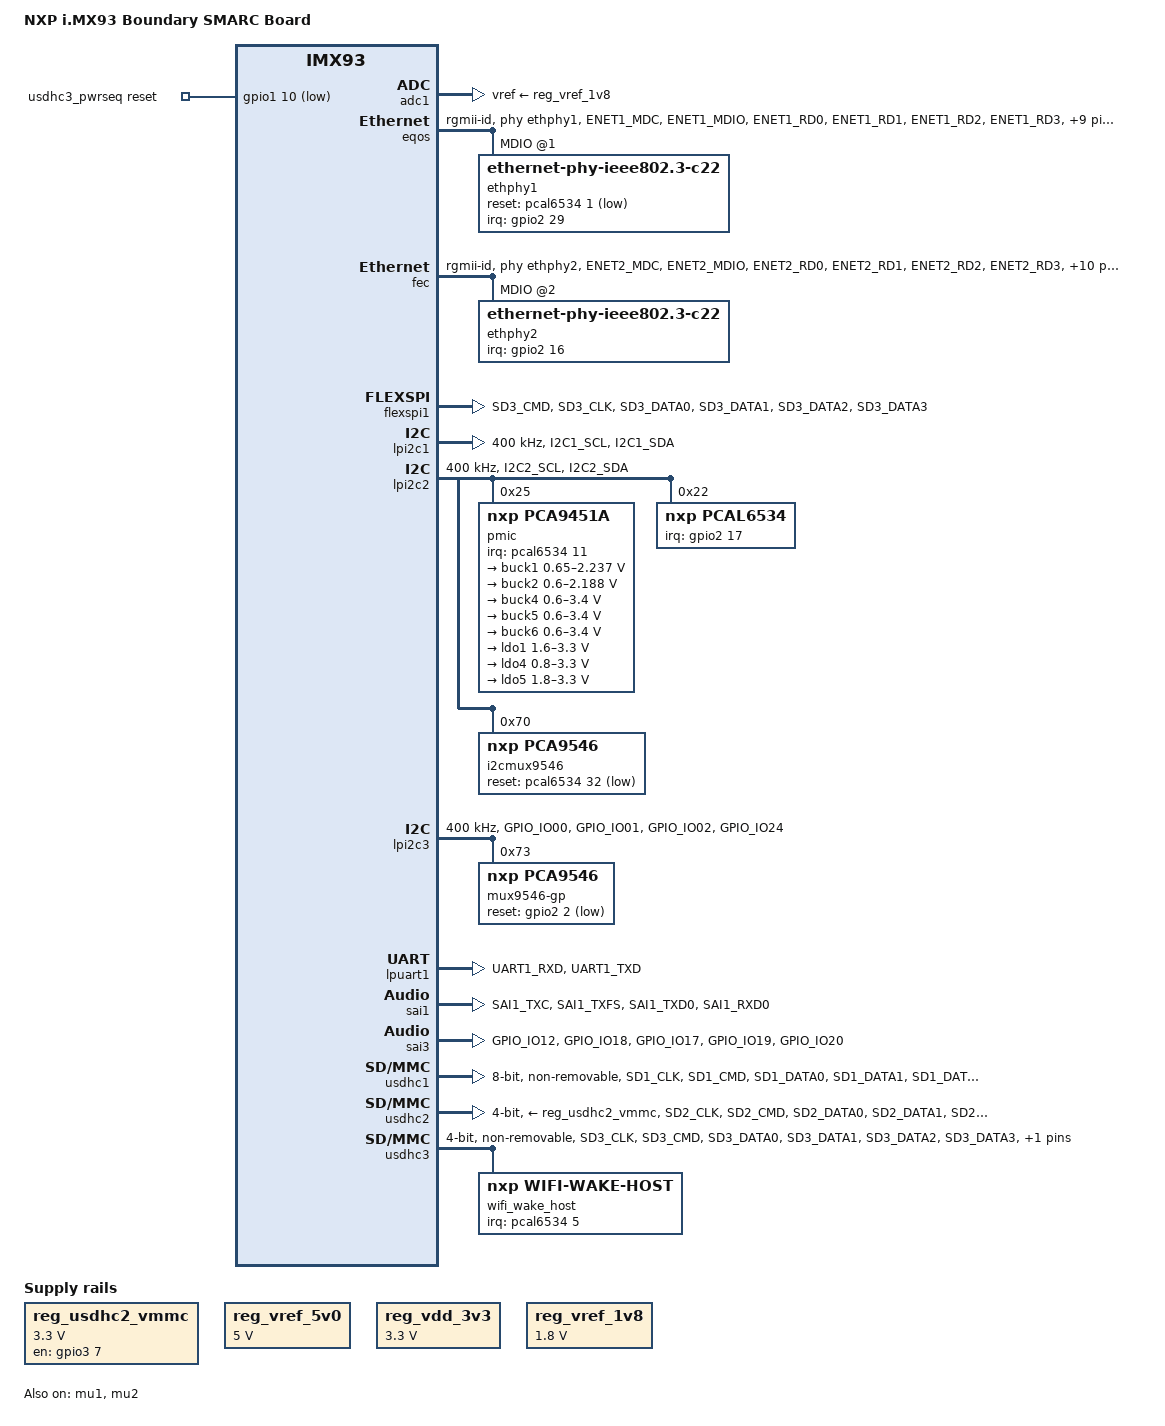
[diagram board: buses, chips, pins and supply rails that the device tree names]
// SPDX-License-Identifier: (GPL-2.0+ OR MIT)
/*
 * Copyright 2022 NXP
 */

/dts-v1/;

#include "imx93.dtsi"

/ {
	model = "NXP i.MX93 Boundary SMARC Board";
	compatible = "fsl,imx93-9x9-qsb", "fsl,imx93";

	chosen {
		stdout-path = &lpuart1;
	};

	reserved-memory {
		#address-cells = <2>;
		#size-cells = <2>;
		ranges;

		linux,cma {
			compatible = "shared-dma-pool";
			reusable;
			size = <0 0x10000000>;
			linux,cma-default;
		};

		vdev0vring0: vdev0vring0@a4000000 {
			reg = <0 0xa4000000 0 0x8000>;
			no-map;
		};

		vdev0vring1: vdev0vring1@a4008000 {
			reg = <0 0xa4008000 0 0x8000>;
			no-map;
		};

		vdev1vring0: vdev1vring0@a4000000 {
			reg = <0 0xa4010000 0 0x8000>;
			no-map;
		};

		vdev1vring1: vdev1vring1@a4018000 {
			reg = <0 0xa4018000 0 0x8000>;
			no-map;
		};

		rsc_table: rsc-table@2021f000 {
			reg = <0 0x2021f000 0 0x1000>;
			no-map;
		};

		vdevbuffer: vdevbuffer@a4020000 {
			compatible = "shared-dma-pool";
			reg = <0 0xa4020000 0 0x100000>;
			no-map;
		};
	};

	cm33: imx93-cm33 {
		compatible = "fsl,imx93-cm33";
		mbox-names = "tx", "rx", "rxdb";
		mboxes = <&mu1 0 1
			  &mu1 1 1
			  &mu1 3 1>;
		memory-region = <&vdevbuffer>, <&vdev0vring0>, <&vdev0vring1>,
				<&vdev1vring0>, <&vdev1vring1>, <&rsc_table>;
		fsl,startup-delay-ms = <500>;
	};

	reg_usdhc2_vmmc: regulator-usdhc2 {
		compatible = "regulator-fixed";
		pinctrl-names = "default";
		pinctrl-0 = <&pinctrl_reg_usdhc2_vmmc>;
		regulator-name = "VSD_3V3";
		regulator-min-microvolt = <3300000>;
		regulator-max-microvolt = <3300000>;
		gpio = <&gpio3 7 GPIO_ACTIVE_HIGH>;
		off-on-delay-us = <12000>;
		enable-active-high;
	};

	reg_vref_5v0: regulator-5v0 {
		compatible = "regulator-fixed";
                regulator-name = "VDD_5V0";
                regulator-min-microvolt = <5000000>;
                regulator-max-microvolt = <5000000>;
        };

	reg_vdd_3v3: regulator-vdd {
		compatible = "regulator-fixed";
		regulator-name = "VDD_3V3";
		regulator-min-microvolt = <3300000>;
		regulator-max-microvolt = <3300000>;
	};

	reg_vref_1v8: regulator-adc-vref {
		compatible = "regulator-fixed";
		regulator-name = "vref_1v8";
		regulator-min-microvolt = <1800000>;
		regulator-max-microvolt = <1800000>;
	};

	usdhc3_pwrseq: usdhc3_pwrseq {
                compatible = "mmc-pwrseq-simple";
                reset-gpios = <&gpio1 10 GPIO_ACTIVE_LOW>; /* SDIO_RESET */
        };

	sound-wm8962 {
		compatible = "fsl,imx-audio-wm8962";
		model = "wm8962-audio";
		audio-cpu = <&sai1>;
		audio-codec = <&codec>;
		codec-master;
		audio-routing =
                        "Headphone Jack", "HPOUTL",
                        "Headphone Jack", "HPOUTR",
                        "Ext Spk", "SPKOUTL",
                        "Ext Spk", "SPKOUTR",
                        "AMIC", "MICBIAS",
                        "IN1R", "AMIC",
                        "IN2R", "AMIC",
                        "IN3L", "AMIC",
                        "IN3R", "AMIC";
	};

};

&adc1 {
	vref-supply = <&reg_vref_1v8>;
	status = "okay";
};

&eqos {
	pinctrl-names = "default";
	pinctrl-0 = <&pinctrl_eqos>;
	phy-mode = "rgmii-id";
	phy-handle = <&ethphy1>;
	status = "okay";

	mdio {
		compatible = "snps,dwmac-mdio";
		#address-cells = <1>;
		#size-cells = <0>;
		clock-frequency = <5000000>;

		ethphy1: ethernet-phy@1 {
			compatible = "ethernet-phy-ieee802.3-c22";
			// reg = <1>;
			reg-mask = <0x90>;
			eee-broken-1000t;
			at803x,hib-disabled;
			interrupts-extended = <&gpio2 29 GPIO_ACTIVE_LOW>;
			reset-gpios =<&pcal6534 1 GPIO_ACTIVE_LOW>;
		};
	};
};

&fec {
        pinctrl-names = "default";
        pinctrl-0 = <&pinctrl_fec>;
        phy-reset-gpios = <&pcal6534 0 GPIO_ACTIVE_LOW>;
        phy-mode = "rgmii-id";
        phy-handle = <&ethphy2>;
        fsl,magic-packet;
        status = "okay";

        mdio {
                #address-cells = <1>;
                #size-cells = <0>;

                ethphy2: ethernet-phy@2 {
                        compatible = "ethernet-phy-ieee802.3-c22";
                        eee-broken-1000t;
                        interrupts-extended = <&gpio2 16 IRQ_TYPE_LEVEL_LOW>;
                        reg-mask = <0x90>;
                };
        };
};

&flexspi1 { /* TODO SimonG This is SD3 SDIO NOT SPI. Check the Linux dts */
	pinctrl-names = "default";
	pinctrl-0 = <&pinctrl_flexspi>;
	assigned-clock-rates = <80000000>;
	status = "okay";
};

&lpi2c1 { /* PMIC I2C bus, but the PMIC is on lpi2c2 !!! */
	#address-cells = <1>;
	#size-cells = <0>;
	clock-frequency = <400000>;
	pinctrl-names = "default", "sleep";
	pinctrl-0 = <&pinctrl_lpi2c1>;
	pinctrl-1 = <&pinctrl_lpi2c1>;
	status = "okay";

};

&lpi2c2 {
	#address-cells = <1>;
	#size-cells = <0>;
	clock-frequency = <400000>;
	pinctrl-names = "default", "sleep";
	pinctrl-0 = <&pinctrl_lpi2c2>;
	pinctrl-1 = <&pinctrl_lpi2c2>;
	status = "okay";

	pmic@25 {
		compatible = "nxp,pca9451a";
		reg = <0x25>;
		interrupt-parent = <&pcal6534>;
		interrupts = <11 IRQ_TYPE_LEVEL_LOW>;

		regulators {
			buck1: BUCK1 {
				regulator-name = "BUCK1";
				regulator-min-microvolt = <650000>;
				regulator-max-microvolt = <2237500>;
				regulator-boot-on;
				regulator-always-on;
				regulator-ramp-delay = <3125>;
			};

			buck2: BUCK2 {
				regulator-name = "BUCK2";
				regulator-min-microvolt = <600000>;
				regulator-max-microvolt = <2187500>;
				regulator-boot-on;
				regulator-always-on;
				regulator-ramp-delay = <3125>;
			};

			buck4: BUCK4{
				regulator-name = "BUCK4";
				regulator-min-microvolt = <600000>;
				regulator-max-microvolt = <3400000>;
				regulator-boot-on;
				regulator-always-on;
			};

			buck5: BUCK5{
				regulator-name = "BUCK5";
				regulator-min-microvolt = <600000>;
				regulator-max-microvolt = <3400000>;
				regulator-boot-on;
				regulator-always-on;
			};

			buck6: BUCK6 {
				regulator-name = "BUCK6";
				regulator-min-microvolt = <600000>;
				regulator-max-microvolt = <3400000>;
				regulator-boot-on;
				regulator-always-on;
			};

			ldo1: LDO1 {
				regulator-name = "LDO1";
				regulator-min-microvolt = <1600000>;
				regulator-max-microvolt = <3300000>;
				regulator-boot-on;
				regulator-always-on;
			};

			ldo4: LDO4 {
				regulator-name = "LDO4";
				regulator-min-microvolt = <800000>;
				regulator-max-microvolt = <3300000>;
				regulator-boot-on;
				regulator-always-on;
			};

			ldo5: LDO5 {
				regulator-name = "LDO5";
				regulator-min-microvolt = <1800000>;
				regulator-max-microvolt = <3300000>;
				regulator-boot-on;
				regulator-always-on;
			};
		};
	};

	pcal6534: gpio@22 {
		compatible = "nxp,pcal6534";
		pinctrl-names = "default";
		pinctrl-0 = <&pinctrl_pcal6534>;
		reg = <0x22>;
		gpio-controller;
		#gpio-cells = <2>;
		interrupt-controller;
		#interrupt-cells = <2>;
		interrupt-parent = <&gpio2>;
		interrupts = <17 IRQ_TYPE_LEVEL_LOW>;
		// reset-gpios = <&gpio2 28 GPIO_ACTIVE_LOW>; /* GPIO_IO28 */
	};

	i2cmux9546@70 {
                pinctrl-names = "default";
                compatible = "nxp,pca9546";
                reg = <0x70>;
                reset-gpios = <&pcal6534 32 GPIO_ACTIVE_LOW>; /* P4_0 */
                #address-cells = <1>;
                #size-cells = <0>;

                lpi2c2a: lpi2c2@csi0 {
                        /* CSI0 I2C */
                        clock-frequency = <100000>;
                        reg = <0>;
                        #address-cells = <1>;
                        #size-cells = <0>;
                };

                lpi2c2b: lpi2c2@lcd {
                        /* LCD I2C */
                        clock-frequency = <100000>;
                        reg = <1>;
                        #address-cells = <1>;
                        #size-cells = <0>;
                };

                lpi2c2c: lpi2c2@csi1 {
                        /* CSI1 I2C */
                        clock-frequency = <100000>;
                        reg = <2>;
                        #address-cells = <1>;
                        #size-cells = <0>;
                };

                lpi2c2d: lpi2c2@nc {
			/* NC */
                        clock-frequency = <100000>;
                        reg = <3>;
                        #address-cells = <1>;
                        #size-cells = <0>;
                };
        };
};

&lpi2c2b { /* LCD I2C */
	i2cmuxlcd9546@70 { /* On SMARC carrier */
                pinctrl-names = "default";
                compatible = "nxp,pca9546";
                reg = <0x70>;
                reset-gpios = <&pcal6534 29 GPIO_ACTIVE_LOW>; /* P3_5 / GPIO_13 */
                #address-cells = <1>;
                #size-cells = <0>;

                muxlcda: muxlcd@exp1 {
                        /* EXP1 I2C */
                        clock-frequency = <100000>;
                        reg = <0>;
                        #address-cells = <1>;
                        #size-cells = <0>;
                };

                muxlcdb: muxlcd@exp2 {
                        /* EXP2 I2C */
                        clock-frequency = <100000>;
                        reg = <1>;
                        #address-cells = <1>;
                        #size-cells = <0>;
                };

                muxlcdc: muxlcd@dsi0 {
                        /* DSI0 I2C */
                        clock-frequency = <100000>;
                        reg = <2>;
                        #address-cells = <1>;
                        #size-cells = <0>;
                };

                muxlcdd: muxlcd@dsi1 {
                        /* DSI1 I2C */
                        clock-frequency = <100000>;
                        reg = <3>;
                        #address-cells = <1>;
                        #size-cells = <0>;
                };
        };
};


&lpi2c3 { /* SM_I2C_GP */
        #address-cells = <1>;
        #size-cells = <0>;
        clock-frequency = <400000>; // 100000 ??
        pinctrl-names = "default", "sleep";
        pinctrl-0 = <&pinctrl_lpi2c3>;
        pinctrl-1 = <&pinctrl_lpi2c3>;
        status = "okay";

	/* On bd-universal-smarc-carrier */
	mux9546-gp@73 {
                compatible = "nxp,pca9546";
                reg = <0x73>;
                reset-gpios = <&gpio2 2 GPIO_ACTIVE_LOW>; /* SMARC GPIO6*/
                #address-cells = <1>;
                #size-cells = <0>;

                i2c_gp_a: SM_I2C_GP@rtc {
                        /* RTC */
                        clock-frequency = <100000>;
                        reg = <0>;
                        #address-cells = <1>;
                        #size-cells = <0>;
                };

                i2c_gp_b: SM_I2C_GP@usb-c {
                        /* USB C */
                        clock-frequency = <100000>;
                        reg = <1>;
                        #address-cells = <1>;
                        #size-cells = <0>;
                };

                i2c_gp_c: SM_I2C_GP@audio {
                        /* audio */
                        clock-frequency = <100000>;
                        reg = <2>;
                        #address-cells = <1>;
                        #size-cells = <0>;
                };

                i2c_gp_d: SM_I2C_GP@pcie {
                        /* pcie */
                        clock-frequency = <100000>;
                        reg = <3>;
                        #address-cells = <1>;
                        #size-cells = <0>;
                };
        };
};

&i2c_gp_a {
        rv3028: rtc@52 {
                backup-switchover-dsm;
                #clock-cells = <0>;
                compatible = "microcrystal,rv3028";
                reg = <0x52>;
                interrupts-extended = <24 IRQ_TYPE_LEVEL_LOW>; /* SMARC GPIO12 */
                wakeup-source;
        };
};

&i2c_gp_c {
	codec: wm8962@1a {
		compatible = "wlf,wm8962";
		reg = <0x1a>;
		clocks = <&clk IMX93_CLK_SAI3_GATE>;
		AVDD-supply = <&reg_vref_1v8>;
                CPVDD-supply = <&reg_vref_1v8>;
                DBVDD-supply = <&reg_vdd_3v3>;
                DCVDD-supply = <&reg_vref_1v8>;
                MICVDD-supply = <&reg_vdd_3v3>;
                PLLVDD-supply = <&reg_vref_1v8>;
                SPKVDD1-supply = <&reg_vref_5v0>;
                SPKVDD2-supply = <&reg_vref_5v0>;
		gpio-cfg = <
                        0x0000 /* n/c */
                        0x0000 /* gpio2: */
                        0x0000 /* gpio3: */
                        0x0000 /* n/c */
                        0x8081 /* gpio5:HP detect */
                        0x8095 /* gpio6:Mic detect */
                >;
	};
};

&lpuart1 { /* console */
	pinctrl-names = "default";
	pinctrl-0 = <&pinctrl_uart1>;
	status = "okay";
};

&lpuart5 {
	/* BT */
	pinctrl-names = "default";
	pinctrl-0 = <&pinctrl_uart5>;
	status = "disabled";
};

&mu1 {
	status = "okay";
};

&mu2 {
	status = "okay";
};

&sai1 { /* SMARC I2S0 wm8962 */
	#sound-dai-cells = <0>;
	pinctrl-names = "default";
	pinctrl-0 = <&pinctrl_sai1>;
	assigned-clocks = <&clk IMX93_CLK_SAI1>;
	assigned-clock-parents = <&clk IMX93_CLK_AUDIO_PLL>;
	assigned-clock-rates = <12288000>;
	status = "okay";
};

&sai3 {
	pinctrl-names = "default";
	pinctrl-0 = <&pinctrl_sai3>;
	pinctrl-assert-gpios = <&pcal6534 22 GPIO_ACTIVE_LOW>;
	assigned-clocks = <&clk IMX93_CLK_SAI3>;
	assigned-clock-parents = <&clk IMX93_CLK_AUDIO_PLL>;
	assigned-clock-rates = <12288000>;
	fsl,sai-mclk-direction-output;
	fsl,sai-synchronous-rx;
	status = "okay";
};

&usdhc1 {
	pinctrl-names = "default", "state_100mhz", "state_200mhz";
	pinctrl-0 = <&pinctrl_usdhc1>;
	pinctrl-1 = <&pinctrl_usdhc1>;
	pinctrl-2 = <&pinctrl_usdhc1>;
	bus-width = <8>;
	non-removable;
	status = "okay";
};

&usdhc2 {
	pinctrl-names = "default", "state_100mhz", "state_200mhz";
	pinctrl-0 = <&pinctrl_usdhc2>, <&pinctrl_usdhc2_gpio>;
	pinctrl-1 = <&pinctrl_usdhc2>, <&pinctrl_usdhc2_gpio>;
	pinctrl-2 = <&pinctrl_usdhc2>, <&pinctrl_usdhc2_gpio>;
	cd-gpios = <&gpio3 00 GPIO_ACTIVE_LOW>;
	vmmc-supply = <&reg_usdhc2_vmmc>;
	bus-width = <4>;
	status = "okay";
	no-sdio;
	no-mmc;
};

&usdhc3 {
	pinctrl-names = "default", "state_100mhz", "state_200mhz";
	pinctrl-0 = <&pinctrl_usdhc3>;
	pinctrl-1 = <&pinctrl_usdhc3>;
	pinctrl-2 = <&pinctrl_usdhc3>;
	mmc-pwrseq = <&usdhc3_pwrseq>;
	pinctrl-assert-gpios = <&pcal6534 13 GPIO_ACTIVE_HIGH>;
	bus-width = <4>;
	keep-power-in-suspend;
	non-removable;
	wakeup-source;
	fsl,sdio-async-interrupt-enabled;
	status = "okay";

	wifi_wake_host {
		compatible = "nxp,wifi-wake-host";
		interrupt-parent = <&pcal6534>;
		/* pcal6534 IO expander limitation: only support edge-triggered irq */
		interrupts = <5 IRQ_TYPE_EDGE_FALLING>;
		interrupt-names = "host-wake";
	};
};

&iomuxc {
	pinctrl_eqos: eqosgrp {
		fsl,pins = <
			MX93_PAD_ENET1_MDC__ENET_QOS_MDC			0x57e
			MX93_PAD_ENET1_MDIO__ENET_QOS_MDIO			0x57e
			MX93_PAD_ENET1_RD0__ENET_QOS_RGMII_RD0			0x57e
			MX93_PAD_ENET1_RD1__ENET_QOS_RGMII_RD1			0x57e
			MX93_PAD_ENET1_RD2__ENET_QOS_RGMII_RD2			0x57e
			MX93_PAD_ENET1_RD3__ENET_QOS_RGMII_RD3			0x57e
			MX93_PAD_ENET1_RXC__CCM_ENET_QOS_CLOCK_GENERATE_RX_CLK	0x5fe
			MX93_PAD_ENET1_RX_CTL__ENET_QOS_RGMII_RX_CTL		0x57e
			MX93_PAD_ENET1_TD0__ENET_QOS_RGMII_TD0			0x57e
			MX93_PAD_ENET1_TD1__ENET_QOS_RGMII_TD1			0x57e
			MX93_PAD_ENET1_TD2__ENET_QOS_RGMII_TD2			0x57e
			MX93_PAD_ENET1_TD3__ENET_QOS_RGMII_TD3			0x57e
			MX93_PAD_ENET1_TXC__CCM_ENET_QOS_CLOCK_GENERATE_TX_CLK	0x5fe
			MX93_PAD_ENET1_TX_CTL__ENET_QOS_RGMII_TX_CTL		0x57e
			MX93_PAD_GPIO_IO29__GPIO2_IO29				0x31e
		>;
	};

	pinctrl_fec: fecgrp {
                fsl,pins = <
			MX93_PAD_ENET2_MDC__ENET1_MDC				0x57e
			MX93_PAD_ENET2_MDIO__ENET1_MDIO				0x57e
			MX93_PAD_ENET2_RD0__ENET1_RGMII_RD0			0x57e
			MX93_PAD_ENET2_RD1__ENET1_RGMII_RD1			0x57e
			MX93_PAD_ENET2_RD2__ENET1_RGMII_RD2			0x57e
			MX93_PAD_ENET2_RD3__ENET1_RGMII_RD3			0x57e
			MX93_PAD_ENET2_RXC__ENET1_RGMII_RXC			0x57e
			MX93_PAD_ENET2_RX_CTL__ENET1_RGMII_RX_CTL		0x57e
			MX93_PAD_ENET2_TD0__ENET1_RGMII_TD0			0x57e
			MX93_PAD_ENET2_TD1__ENET1_RGMII_TD1			0x57e
			MX93_PAD_ENET2_TD2__ENET1_RGMII_TD2			0x57e
			MX93_PAD_ENET2_TD3__ENET1_RGMII_TD3			0x57e
			MX93_PAD_ENET2_TXC__ENET1_RGMII_TXC			0x57e
			MX93_PAD_ENET2_TX_CTL__ENET1_RGMII_TX_CTL		0x57e
			MX93_PAD_GPIO_IO16__GPIO2_IO16				0x31e
                >;
        };

	pinctrl_flexspi: flexspigrp {
		fsl,pins = <
			MX93_PAD_SD3_CMD__FLEXSPI1_A_SS0_B	0x42
			MX93_PAD_SD3_CLK__FLEXSPI1_A_SCLK	0x42
			MX93_PAD_SD3_DATA0__FLEXSPI1_A_DATA00	0x42
			MX93_PAD_SD3_DATA1__FLEXSPI1_A_DATA01	0x42
			MX93_PAD_SD3_DATA2__FLEXSPI1_A_DATA02	0x42
			MX93_PAD_SD3_DATA3__FLEXSPI1_A_DATA03	0x42
		>;
	};

	pinctrl_lpi2c1: lpi2c1grp {
		fsl,pins = <
			MX93_PAD_I2C1_SCL__LPI2C1_SCL			0x40000b9e
			MX93_PAD_I2C1_SDA__LPI2C1_SDA			0x40000b9e
		>;
	};

	pinctrl_lpi2c2: lpi2c2grp {
		fsl,pins = <
			MX93_PAD_I2C2_SCL__LPI2C2_SCL			0x40000b9e
			MX93_PAD_I2C2_SDA__LPI2C2_SDA			0x40000b9e
		>;
	};

	pinctrl_lpi2c3: lpi2c3grp {
                fsl,pins = <
			MX93_PAD_GPIO_IO00__LPI2C3_SDA			0x40000b9e
			MX93_PAD_GPIO_IO01__LPI2C3_SCL			0x40000b9e
			MX93_PAD_GPIO_IO02__GPIO2_IO02			0x31e
			MX93_PAD_GPIO_IO24__GPIO2_IO24			0x31e
		>;
        };

	pinctrl_pcal6534: pcal6534grp {
		fsl,pins = <
			MX93_PAD_GPIO_IO28__GPIO2_IO28			0x31e
			MX93_PAD_GPIO_IO17__GPIO2_IO17			0x31e
		>;
	};

	pinctrl_uart1: uart1grp {
		fsl,pins = <
			MX93_PAD_UART1_RXD__LPUART1_RX			0x31e
			MX93_PAD_UART1_TXD__LPUART1_TX			0x31e
		>;
	};

	pinctrl_uart5: uart5grp {
		fsl,pins = <
			MX93_PAD_DAP_TDO_TRACESWO__LPUART5_TX	0x31e
			MX93_PAD_DAP_TDI__LPUART5_RX		0x31e
			MX93_PAD_DAP_TMS_SWDIO__LPUART5_RTS_B	0x31e
			MX93_PAD_DAP_TCLK_SWCLK__LPUART5_CTS_B	0x31e
		>;
	};

	pinctrl_usdhc1: usdhc1grp {
		fsl,pins = <
			MX93_PAD_SD1_CLK__USDHC1_CLK		0x15fe
			MX93_PAD_SD1_CMD__USDHC1_CMD		0x13fe
			MX93_PAD_SD1_DATA0__USDHC1_DATA0	0x13fe
			MX93_PAD_SD1_DATA1__USDHC1_DATA1	0x13fe
			MX93_PAD_SD1_DATA2__USDHC1_DATA2	0x13fe
			MX93_PAD_SD1_DATA3__USDHC1_DATA3	0x13fe
			MX93_PAD_SD1_DATA4__USDHC1_DATA4	0x13fe
			MX93_PAD_SD1_DATA5__USDHC1_DATA5	0x13fe
			MX93_PAD_SD1_DATA6__USDHC1_DATA6	0x13fe
			MX93_PAD_SD1_DATA7__USDHC1_DATA7	0x13fe
			MX93_PAD_SD1_STROBE__USDHC1_STROBE	0x15fe
		>;
	};

	pinctrl_reg_usdhc2_vmmc: regusdhc2vmmcgrp {
		fsl,pins = <
			MX93_PAD_SD2_RESET_B__GPIO3_IO07	0x31e
		>;
	};

	pinctrl_usdhc2_gpio: usdhc2gpiogrp {
		fsl,pins = <
			MX93_PAD_SD2_CD_B__GPIO3_IO00		0x31e
		>;
	};

	pinctrl_usdhc2: usdhc2grp {
		fsl,pins = <
			MX93_PAD_SD2_CLK__USDHC2_CLK		0x15fe
			MX93_PAD_SD2_CMD__USDHC2_CMD		0x13fe
			MX93_PAD_SD2_DATA0__USDHC2_DATA0	0x13fe
			MX93_PAD_SD2_DATA1__USDHC2_DATA1	0x13fe
			MX93_PAD_SD2_DATA2__USDHC2_DATA2	0x13fe
			MX93_PAD_SD2_DATA3__USDHC2_DATA3	0x13fe
			MX93_PAD_SD2_VSELECT__USDHC2_VSELECT	0x51e
		>;
	};

	pinctrl_usdhc3: usdhc3grp {
		fsl,pins = <
			MX93_PAD_SD3_CLK__USDHC3_CLK			0x15fe
			MX93_PAD_SD3_CMD__USDHC3_CMD			0x13fe
			MX93_PAD_SD3_DATA0__USDHC3_DATA0		0x13fe
			MX93_PAD_SD3_DATA1__USDHC3_DATA1        	0x13fe
			MX93_PAD_SD3_DATA2__USDHC3_DATA2        	0x13fe
			MX93_PAD_SD3_DATA3__USDHC3_DATA3        	0x13fe
			MX93_PAD_PDM_BIT_STREAM1__GPIO1_IO10		0x31e
		>;
	};

	pinctrl_sai1: sai1grp {
		fsl,pins = <
			MX93_PAD_SAI1_TXC__SAI1_TX_BCLK			0x31e
			MX93_PAD_SAI1_TXFS__SAI1_TX_SYNC		0x31e
			MX93_PAD_SAI1_TXD0__SAI1_TX_DATA00		0x31e
			MX93_PAD_SAI1_RXD0__SAI1_RX_DATA00		0x31e
		>;
	};

	pinctrl_sai3: sai3grp {
		fsl,pins = <
			MX93_PAD_GPIO_IO12__SAI3_RX_SYNC		0x31e
			MX93_PAD_GPIO_IO18__SAI3_RX_BCLK		0x31e
			MX93_PAD_GPIO_IO17__SAI3_MCLK		0x31e
			MX93_PAD_GPIO_IO19__SAI3_TX_DATA00		0x31e
			MX93_PAD_GPIO_IO20__SAI3_RX_DATA00		0x31e
		>;
	};

	pinctrl_lcdif: lcdifgrp {
		fsl,pins = <
			MX93_PAD_GPIO_IO00__MEDIAMIX_DISP_CLK           0x31e
			MX93_PAD_GPIO_IO01__MEDIAMIX_DISP_DE            0x31e
			MX93_PAD_GPIO_IO02__MEDIAMIX_DISP_VSYNC         0x31e
			MX93_PAD_GPIO_IO03__MEDIAMIX_DISP_HSYNC         0x31e
			MX93_PAD_GPIO_IO04__MEDIAMIX_DISP_DATA00        0x31e
			MX93_PAD_GPIO_IO05__MEDIAMIX_DISP_DATA01        0x31e
			MX93_PAD_GPIO_IO06__MEDIAMIX_DISP_DATA02        0x31e
			MX93_PAD_GPIO_IO07__MEDIAMIX_DISP_DATA03        0x31e
			MX93_PAD_GPIO_IO08__MEDIAMIX_DISP_DATA04        0x31e
			MX93_PAD_GPIO_IO09__MEDIAMIX_DISP_DATA05        0x31e
			MX93_PAD_GPIO_IO10__MEDIAMIX_DISP_DATA06        0x31e
			MX93_PAD_GPIO_IO11__MEDIAMIX_DISP_DATA07        0x31e
			MX93_PAD_GPIO_IO12__MEDIAMIX_DISP_DATA08        0x31e
			MX93_PAD_GPIO_IO13__MEDIAMIX_DISP_DATA09        0x31e
			MX93_PAD_GPIO_IO14__MEDIAMIX_DISP_DATA10        0x31e
			MX93_PAD_GPIO_IO15__MEDIAMIX_DISP_DATA11        0x31e
			MX93_PAD_GPIO_IO16__MEDIAMIX_DISP_DATA12        0x31e
			MX93_PAD_GPIO_IO17__MEDIAMIX_DISP_DATA13        0x31e
			MX93_PAD_GPIO_IO18__MEDIAMIX_DISP_DATA14        0x31e
			MX93_PAD_GPIO_IO19__MEDIAMIX_DISP_DATA15        0x31e
			MX93_PAD_GPIO_IO20__MEDIAMIX_DISP_DATA16        0x31e
			MX93_PAD_GPIO_IO21__MEDIAMIX_DISP_DATA17        0x31e
		>;
	};
};
